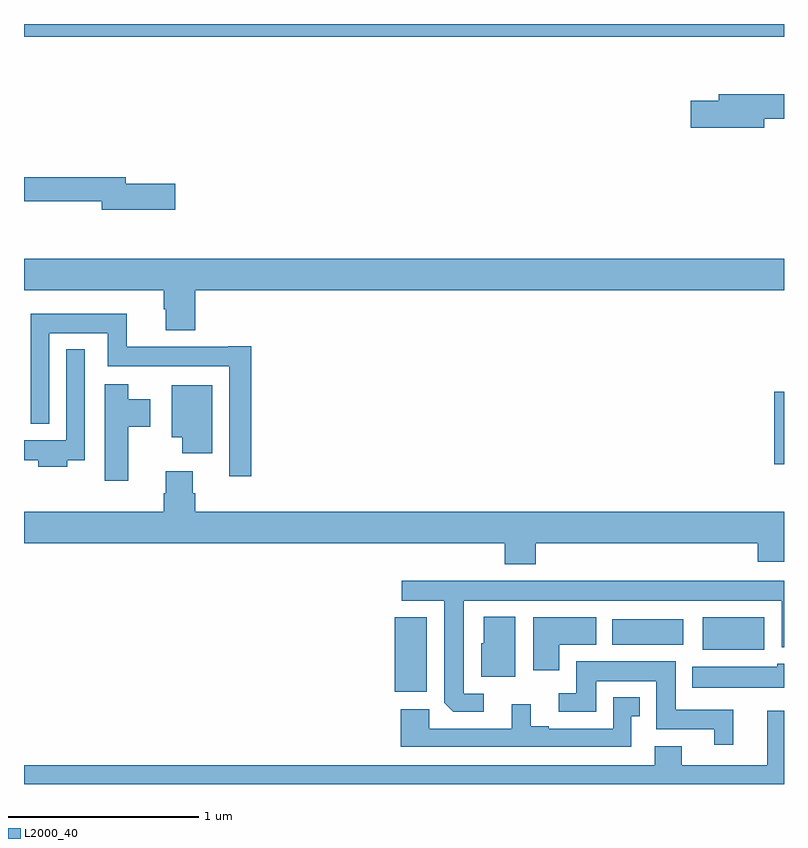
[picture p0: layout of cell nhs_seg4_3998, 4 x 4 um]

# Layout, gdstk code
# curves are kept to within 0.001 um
import gdstk
lib = gdstk.Library(unit=1e-6, precision=1e-09)
def R(c, l, rs):  # rectangles x0, y0, x1, y1
    for r in rs: c.add(gdstk.rectangle(r[:2], r[2:], *l))
def P(c, l, *ps):  # polygons
    for p in ps: c.add(gdstk.Polygon(p, *l))
L2000_40 = (2000, 40)

nhs_seg4_3998 = lib.new_cell('nhs_seg4_3998')
R(nhs_seg4_3998, L2000_40, [(324.95,781.385,325.12,781.777), (326.573,781.607,326.896,781.777), (326.096,781.634,326.47,781.768), (326.948,782.583,327,782.964), (323,784.832,327,784.9)])
P(nhs_seg4_3998, L2000_40, [(326.896,784.402),(327,784.402),(327,784.531),(326.657,784.531),(326.657,784.497),(326.508,784.497),(326.508,784.355),(326.896,784.355)],
  [(323.797,784.058),(323.536,784.058),(323.536,784.094),(323,784.094),(323,783.966),(323.408,783.966),(323.408,783.923),(323.797,783.923)],
  [(323.9,783.5),(327,783.5),(327,783.664),(323,783.664),(323,783.5),(323.735,783.5),(323.735,783.399),(323.747,783.399),(323.747,783.287),(323.9,783.287)],
  [(324.197,783.205),(324.074,783.205),(324.074,783.202),(323.54,783.202),(323.54,783.376),(323.036,783.376),(323.036,782.795),(323.133,782.795),(323.133,783.272),(323.442,783.272),(323.442,783.098),(324.081,783.098),(324.081,782.52),(324.197,782.52)],
  [(323.227,782.604),(323.319,782.604),(323.319,783.187),(323.223,783.187),(323.223,782.71),(323,782.71),(323,782.604),(323.075,782.604),(323.075,782.57),(323.227,782.57)],
  [(323.548,782.779),(323.665,782.779),(323.665,782.926),(323.548,782.926),(323.548,783.004),(323.426,783.004),(323.426,782.496),(323.548,782.496)],
  [(323.992,782.998),(323.777,782.998),(323.777,782.726),(323.834,782.726),(323.834,782.64),(323.992,782.64)],
  [(325.694,782.168),(326.861,782.168),(326.861,782.069),(327,782.069),(327,782.332),(323.9,782.332),(323.9,782.43),(323.887,782.43),(323.887,782.545),(323.747,782.545),(323.747,782.43),(323.735,782.43),(323.735,782.332),(323,782.332),(323,782.168),(325.529,782.168),(325.529,782.057),(325.694,782.057)],
  [(325.42,781.374),(325.315,781.374),(325.315,781.865),(326.988,781.865),(326.988,781.62),(327,781.62),(327,781.969),(324.987,781.969),(324.987,781.865),(325.211,781.865),(325.212,781.327),(325.258,781.281),(325.42,781.281)],
  [(325.585,781.78),(325.421,781.78),(325.421,781.641),(325.406,781.641),(325.406,781.464),(325.585,781.464)],
  [(325.816,781.634),(326.011,781.634),(326.011,781.777),(325.679,781.777),(325.679,781.5),(325.816,781.5)],
  [(326.732,781.291),(326.431,781.291),(326.431,781.546),(325.907,781.546),(325.907,781.377),(325.815,781.377),(325.815,781.281),(326.011,781.281),(326.011,781.442),(326.327,781.442),(326.327,781.187),(326.633,781.187),(326.633,781.107),(326.732,781.107)],
  [(327,781.534),(326.964,781.534),(326.964,781.516),(326.516,781.516),(326.516,781.406),(327,781.406)],
  [(326.196,781.257),(326.242,781.257),(326.242,781.357),(326.1,781.357),(326.1,781.191),(325.762,781.191),(325.762,781.204),(325.666,781.204),(325.666,781.321),(325.568,781.321),(325.568,781.191),(325.134,781.191),(325.134,781.294),(324.983,781.294),(324.983,781.095),(326.196,781.095)],
  [(327,781.285),(326.912,781.285),(326.912,781),(326.461,781),(326.461,781.099),(326.321,781.099),(326.321,781),(323,781),(323,780.9),(327,780.9)])

lib.write_gds('nhs_seg4_3998.gds')
